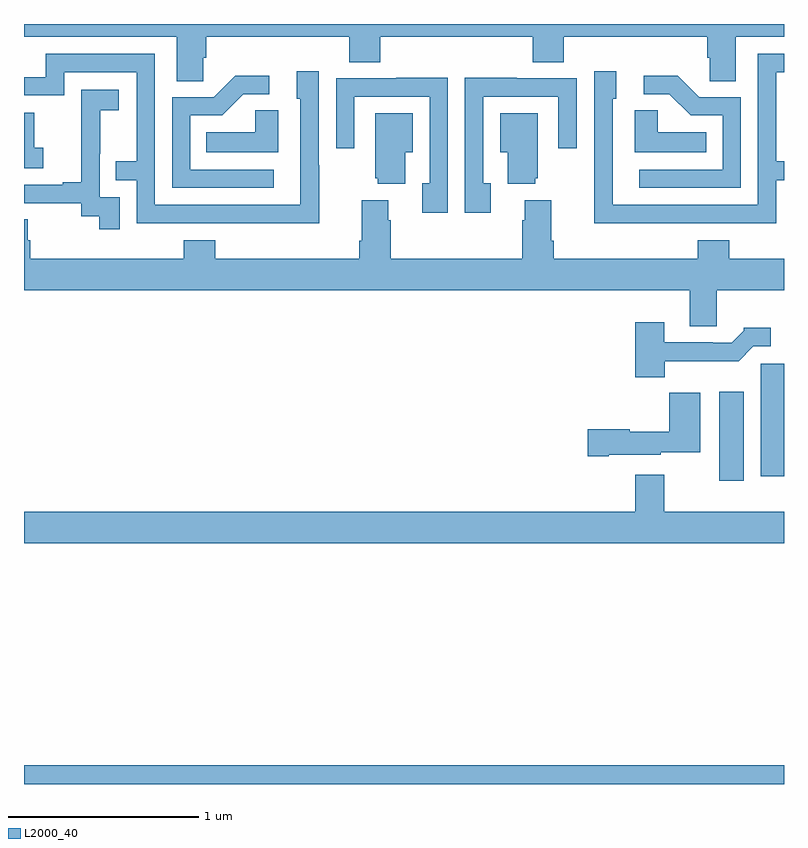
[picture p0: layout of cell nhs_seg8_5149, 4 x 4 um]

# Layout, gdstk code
import gdstk
lib = gdstk.Library(unit=1e-6, precision=1e-09)
def R(c, l, rs):  # rectangles x0, y0, x1, y1
    for r in rs: c.add(gdstk.rectangle(r[:2], r[2:], *l))
def P(c, l, *ps):  # polygons
    for p in ps: c.add(gdstk.Polygon(p, *l))
L2000_40 = (2000, 40)

nhs_seg8_5149 = lib.new_cell('nhs_seg8_5149')
R(nhs_seg8_5149, L2000_40, [(421,1113.9,425,1114), (424.658,1115.496,424.789,1115.965), (424.877,1115.52,425,1116.111)])
P(nhs_seg8_5149, L2000_40, [(421.944,1117.723),(421.958,1117.723),(421.958,1117.832),(422.711,1117.832),(422.711,1117.699),(422.876,1117.699),(422.876,1117.832),(423.677,1117.832),(423.677,1117.699),(423.842,1117.699),(423.842,1117.832),(424.595,1117.832),(424.595,1117.723),(424.608,1117.723),(424.608,1117.6),(424.747,1117.6),(424.747,1117.832),(425,1117.832),(425,1117.9),(421,1117.9),(421,1117.832),(421.805,1117.832),(421.805,1117.6),(421.944,1117.6)],
  [(424.463,1116.852),(424.959,1116.852),(424.959,1117.077),(425,1117.077),(425,1117.178),(424.959,1117.178),(424.959,1117.647),(425,1117.647),(425,1117.743),(424.863,1117.743),(424.863,1116.948),(424.098,1116.948),(424.098,1117.506),(424.117,1117.506),(424.117,1117.651),(424.002,1117.651),(424.002,1117.157),(424,1117.157),(424,1116.851),(424.463,1116.851)],
  [(422.553,1117.157),(422.55,1117.157),(422.55,1117.651),(422.435,1117.651),(422.435,1117.506),(422.454,1117.506),(422.454,1116.948),(421.689,1116.948),(421.689,1117.743),(421.115,1117.743),(421.115,1117.62),(421,1117.62),(421,1117.524),(421.212,1117.524),(421.212,1117.647),(421.593,1117.647),(421.593,1117.178),(421.483,1117.178),(421.483,1117.077),(421.593,1117.077),(421.593,1116.852),(422.089,1116.852),(422.089,1116.851),(422.553,1116.851)],
  [(422.314,1117.134),(421.875,1117.134),(421.875,1117.419),(422.044,1117.419),(422.155,1117.53),(422.29,1117.53),(422.29,1117.628),(422.111,1117.628),(421.998,1117.515),(421.779,1117.515),(421.779,1117.038),(422.314,1117.038)],
  [(424.773,1117.515),(424.554,1117.515),(424.441,1117.628),(424.263,1117.628),(424.263,1117.53),(424.397,1117.53),(424.508,1117.419),(424.677,1117.419),(424.677,1117.134),(424.239,1117.134),(424.239,1117.038),(424.773,1117.038)],
  [(423.231,1117.616),(422.959,1117.616),(422.959,1117.614),(422.643,1117.614),(422.643,1117.245),(422.739,1117.245),(422.739,1117.518),(423.135,1117.518),(423.135,1117.062),(423.095,1117.062),(423.095,1116.906),(423.231,1116.906)],
  [(423.457,1117.062),(423.417,1117.062),(423.417,1117.518),(423.813,1117.518),(423.813,1117.245),(423.909,1117.245),(423.909,1117.614),(423.593,1117.614),(423.593,1117.616),(423.321,1117.616),(423.321,1116.906),(423.457,1116.906)],
  [(421.503,1116.987),(421.398,1116.987),(421.398,1117.217),(421.4,1117.217),(421.4,1117.445),(421.498,1117.445),(421.498,1117.555),(421.3,1117.555),(421.3,1117.349),(421.301,1117.349),(421.301,1117.066),(421.205,1117.066),(421.205,1117.053),(421,1117.053),(421,1116.957),(421.302,1116.957),(421.302,1116.889),(421.395,1116.889),(421.395,1116.819),(421.503,1116.819)],
  [(424.592,1117.33),(424.335,1117.33),(424.335,1117.445),(424.214,1117.445),(424.214,1117.226),(424.592,1117.226)],
  [(422.338,1117.445),(422.217,1117.445),(422.217,1117.33),(421.96,1117.33),(421.96,1117.226),(422.338,1117.226)],
  [(421.102,1117.249),(421.053,1117.249),(421.053,1117.434),(421,1117.434),(421,1117.14),(421.102,1117.14)],
  [(423.007,1117.226),(423.046,1117.226),(423.046,1117.429),(422.849,1117.429),(422.849,1117.089),(422.861,1117.089),(422.861,1117.058),(423.007,1117.058)],
  [(423.692,1117.089),(423.703,1117.089),(423.703,1117.429),(423.506,1117.429),(423.506,1117.226),(423.545,1117.226),(423.545,1117.058),(423.692,1117.058)],
  [(424.645,1116.5),(425,1116.5),(425,1116.664),(424.712,1116.664),(424.712,1116.763),(424.547,1116.763),(424.547,1116.664),(423.788,1116.664),(423.788,1116.76),(423.775,1116.76),(423.775,1116.973),(423.635,1116.973),(423.635,1116.866),(423.623,1116.866),(423.623,1116.664),(422.93,1116.664),(422.93,1116.866),(422.917,1116.866),(422.917,1116.973),(422.777,1116.973),(422.777,1116.76),(422.765,1116.76),(422.765,1116.664),(422.006,1116.664),(422.006,1116.763),(421.841,1116.763),(421.841,1116.664),(421.034,1116.664),(421.034,1116.762),(421.021,1116.762),(421.021,1116.872),(421,1116.872),(421,1116.5),(424.505,1116.5),(424.505,1116.31),(424.645,1116.31)],
  [(424.372,1116.126),(424.761,1116.126),(424.839,1116.204),(424.93,1116.204),(424.93,1116.301),(424.788,1116.301),(424.788,1116.286),(424.724,1116.222),(424.625,1116.222),(424.625,1116.225),(424.369,1116.225),(424.369,1116.331),(424.217,1116.331),(424.217,1116.041),(424.372,1116.041)],
  [(424.078,1115.633),(424.35,1115.633),(424.35,1115.645),(424.558,1115.645),(424.558,1115.959),(424.396,1115.959),(424.396,1115.755),(424.188,1115.755),(424.188,1115.768),(423.966,1115.768),(423.966,1115.626),(424.078,1115.626)],
  [(425,1115.332),(424.369,1115.332),(424.369,1115.527),(424.217,1115.527),(424.217,1115.332),(421,1115.332),(421,1115.168),(425,1115.168)])

lib.write_gds('nhs_seg8_5149.gds')
